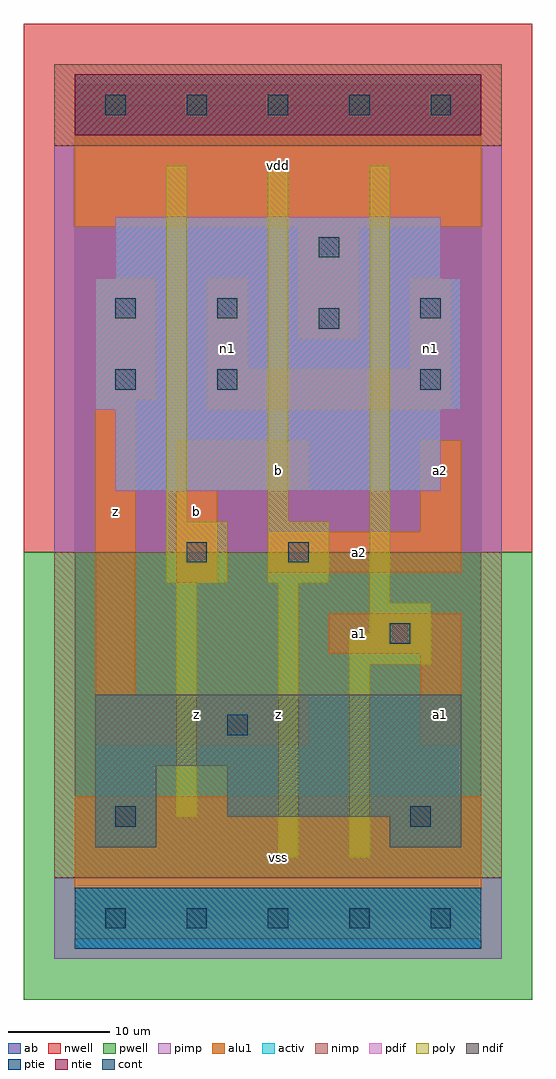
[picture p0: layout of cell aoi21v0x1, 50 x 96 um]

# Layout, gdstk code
import gdstk
lib = gdstk.Library(unit=1e-6, precision=1e-09)
def R(c, l, rs):  # rectangles x0, y0, x1, y1
    for r in rs: c.add(gdstk.rectangle(r[:2], r[2:], *l))
def A(c, l, x, y, w, h, nx, ny, dx, dy):  # array of equal rectangles
    R(c, l, [(x+i*dx, y+j*dy, x+i*dx+w, y+j*dy+h) for i in range(nx) for j in range(ny)])
ndif = (3, 0)
pdif = (4, 0)
ntie = (5, 0)
ptie = (6, 0)
cont = (25, 0)
pwell = (41, 0)
nwell = (42, 0)
activ = (43, 0)
pimp = (44, 0)
nimp = (45, 0)
poly = (46, 0)
alu1 = (49, 0)
ab = (63, 0)

aoi21v0x1 = lib.new_cell('aoi21v0x1')
R(aoi21v0x1, ndif, [(2,7,8,15), (31,7,38,10), (15,10,38,15), (2,15,38,22)])
R(aoi21v0x1, pdif, [(4,42,36,50), (2,50,38,63), (4,63,36,69)])
R(aoi21v0x1, ntie, [(0,77,40,83)])
R(aoi21v0x1, ptie, [(0,-3,40,3)])
A(aoi21v0x1, cont, 3, -1, 2, 2, 5, 2, 8, 80)
R(aoi21v0x1, cont, [(4,9,6,11), (33,9,35,11), (15,18,17,20), (31,27,33,29), (11,35,13,37), (21,35,23,37), (4,52,6,54), (14,52,16,54), (34,52,36,54), (24,58,26,60), (4,59,6,61), (14,59,16,61), (34,59,36,61), (24,65,26,67)])
R(aoi21v0x1, pwell, [(-5,-8,45,36)])
R(aoi21v0x1, nwell, [(-5,36,45,88)])
R(aoi21v0x1, activ, [(0,-3,40,3), (2,7,8,15), (31,7,38,10), (15,10,38,15), (2,15,38,22), (4,42,36,50), (2,50,38,63), (4,63,36,69), (0,77,40,83)])
R(aoi21v0x1, pimp, [(-2,-4,42,4), (-2,36,42,76)])
R(aoi21v0x1, nimp, [(-2,4,42,36), (-2,76,42,84)])
R(aoi21v0x1, poly, [(20,6,22,33), (27,6,29,25), (10,10,12,33), (27,25,35,28), (29,28,35,31), (29,31,31,74), (9,33,15,39), (19,33,25,39), (9,39,11,74), (19,39,21,74)])
R(aoi21v0x1, alu1, [(0,-2,40,12), (2,17,23,22), (34,17,38,26), (2,22,6,51), (25,26,38,30), (10,33,14,42), (19,34,38,38), (34,38,38,47), (10,42,23,47), (13,50,37,54), (2,51,8,63), (13,54,17,63), (33,54,37,63), (22,57,28,68), (0,68,40,82)])
R(aoi21v0x1, ab, [(0,0,40,80)])
aoi21v0x1.add(gdstk.Label('n1', (15,56), layer=49, texttype=0))
aoi21v0x1.add(gdstk.Label('n1', (35,56), layer=49, texttype=0))
aoi21v0x1.add(gdstk.Label('z', (4,40), layer=49, texttype=0))
aoi21v0x1.add(gdstk.Label('z', (12,20), layer=49, texttype=0))
aoi21v0x1.add(gdstk.Label('b', (12,40), layer=49, texttype=0))
aoi21v0x1.add(gdstk.Label('vss', (20,6), layer=49, texttype=0))
aoi21v0x1.add(gdstk.Label('z', (20,20), layer=49, texttype=0))
aoi21v0x1.add(gdstk.Label('a2', (28,36), layer=49, texttype=0))
aoi21v0x1.add(gdstk.Label('a1', (28,28), layer=49, texttype=0))
aoi21v0x1.add(gdstk.Label('b', (20,44), layer=49, texttype=0))
aoi21v0x1.add(gdstk.Label('vdd', (20,74), layer=49, texttype=0))
aoi21v0x1.add(gdstk.Label('a1', (36,20), layer=49, texttype=0))
aoi21v0x1.add(gdstk.Label('a2', (36,44), layer=49, texttype=0))

lib.write_gds('aoi21v0x1.gds')
